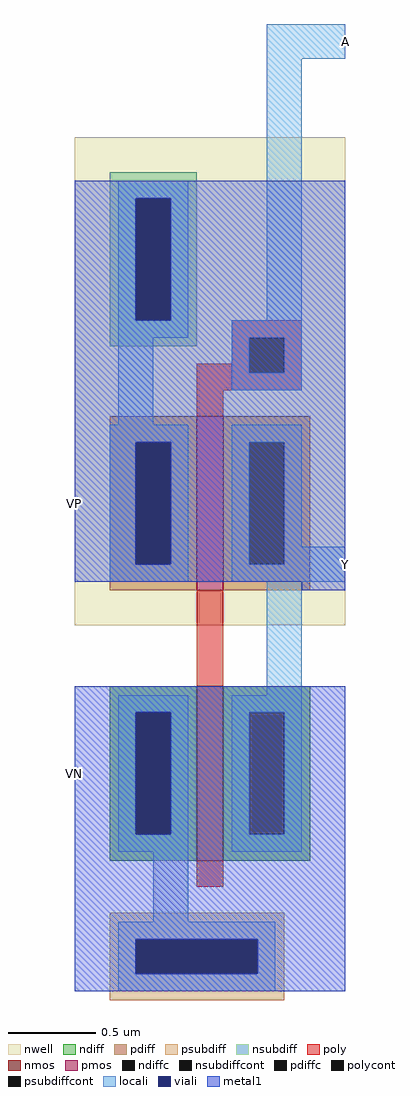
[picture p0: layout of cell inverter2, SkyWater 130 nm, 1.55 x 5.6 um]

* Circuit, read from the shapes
.subckt inverter2 A Y VP VN
XM1 Y A VN VN sky130_fd_pr__nfet_01v8 w=1 l=0.15
XM2 Y A VP VP sky130_fd_pr__pfet_01v8 w=1 l=0.15
.ends

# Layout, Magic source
magic
tech sky130A
<< nwell >>
rect -80 110 75 390
<< nmos >>
rect -10 -25 5 75
<< pmos >>
rect -10 130 5 230
<< ndiff >>
rect -60 60 -10 75
rect -60 -10 -45 60
rect -25 -10 -10 60
rect -60 -25 -10 -10
rect 5 60 55 75
rect 5 -10 20 60
rect 40 -10 55 60
rect 5 -25 55 -10
<< pdiff >>
rect -60 215 -10 230
rect -60 145 -45 215
rect -25 145 -10 215
rect -60 130 -10 145
rect 5 215 55 230
rect 5 145 20 215
rect 40 145 55 215
rect 5 130 55 145
<< ndiffc >>
rect -45 -10 -25 60
rect 20 -10 40 60
<< pdiffc >>
rect -45 145 -25 215
rect 20 145 40 215
<< psubdiff >>
rect -60 -70 40 -55
rect -60 -90 -45 -70
rect 25 -90 40 -70
rect -60 -105 40 -90
<< nsubdiff >>
rect -60 355 -10 370
rect -60 285 -45 355
rect -25 285 -10 355
rect -60 270 -10 285
<< psubdiffcont >>
rect -45 -90 25 -70
<< nsubdiffcont >>
rect -45 285 -25 355
<< poly >>
rect 10 275 50 285
rect 10 260 20 275
rect -10 255 20 260
rect 40 255 50 275
rect -10 245 50 255
rect -10 230 5 245
rect -10 75 5 130
rect -10 -40 5 -25
<< polycont >>
rect 20 255 40 275
<< locali >>
rect 30 435 75 455
rect -55 355 -15 365
rect -55 285 -45 355
rect -25 285 -15 355
rect 30 285 50 435
rect -55 275 -15 285
rect 10 275 50 285
rect -55 225 -35 275
rect 10 255 20 275
rect 40 255 50 275
rect 10 245 50 255
rect -60 215 -15 225
rect -60 145 -45 215
rect -25 145 -15 215
rect -60 135 -15 145
rect 10 215 50 225
rect 10 145 20 215
rect 40 155 50 215
rect 40 145 75 155
rect 10 135 75 145
rect 30 70 50 135
rect -55 60 -15 70
rect -55 -10 -45 60
rect -25 -10 -15 60
rect -55 -20 -15 -10
rect 10 60 50 70
rect 10 -10 20 60
rect 40 -10 50 60
rect 10 -20 50 -10
rect -35 -60 -15 -20
rect -55 -70 35 -60
rect -55 -90 -45 -70
rect 25 -90 35 -70
rect -55 -100 35 -90
<< viali >>
rect -45 285 -25 355
rect -45 145 -25 215
rect -45 -10 -25 60
rect -45 -90 25 -70
<< metal1 >>
rect -80 355 75 365
rect -80 285 -45 355
rect -25 285 75 355
rect -80 215 75 285
rect -80 145 -45 215
rect -25 145 75 215
rect -80 135 75 145
rect 50 130 75 135
rect -80 60 75 75
rect -80 -10 -45 60
rect -25 -10 75 60
rect -80 -70 75 -10
rect -80 -90 -45 -70
rect 25 -90 75 -70
rect -80 -100 75 -90
<< labels >>
rlabel locali 75 145 75 145 3 Y
port 2 e
rlabel metal1 -80 180 -80 180 7 VP
port 3 w
rlabel metal1 -80 25 -80 25 7 VN
port 4 w
rlabel locali 75 445 75 445 7 A
port 1 w
<< end >>
